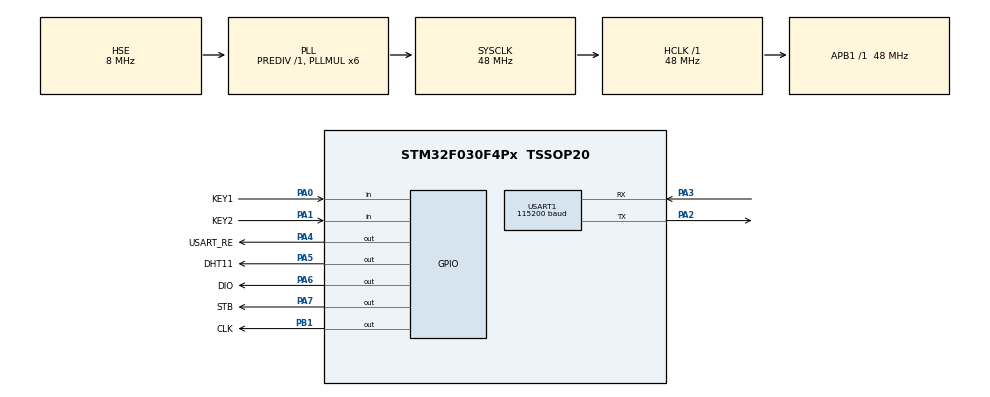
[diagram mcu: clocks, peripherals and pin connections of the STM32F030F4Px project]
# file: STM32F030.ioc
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Mcu.Family=STM32F0
Mcu.Name=STM32F030F4Px
Mcu.Package=TSSOP20
NVIC.TIM1_BRK_UP_TRG_COM_IRQn=true\:0\:0\:false\:false\:true\:true\:true
NVIC.USART1_IRQn=true\:1\:0\:true\:false\:true\:true\:true
PA0.GPIO_Label=KEY1
PA0.GPIO_PuPd=GPIO_PULLUP
PA0.Signal=GPIO_Input
PA1.GPIO_Label=KEY2
PA1.GPIO_PuPd=GPIO_PULLUP
PA1.Signal=GPIO_Input
PA13.Mode=Serial_Wire
PA13.Signal=SYS_SWDIO
PA14.Mode=Serial_Wire
PA14.Signal=SYS_SWCLK
PA2.Mode=Asynchronous
PA2.Signal=USART1_TX
PA3.Mode=Asynchronous
PA3.Signal=USART1_RX
PA4.GPIO_Label=USART_RE
PA4.GPIO_Speed=GPIO_SPEED_FREQ_HIGH
PA4.PinState=GPIO_PIN_RESET
PA4.Signal=GPIO_Output
PA5.GPIO_Label=DHT11
PA5.GPIO_ModeDefaultOutputPP=GPIO_MODE_OUTPUT_OD
PA5.PinState=GPIO_PIN_SET
PA5.Signal=GPIO_Output
PA6.GPIO_Label=DIO
PA6.Signal=GPIO_Output
PA7.GPIO_Label=STB
PA7.Signal=GPIO_Output
PB1.GPIO_Label=CLK
PB1.Signal=GPIO_Output
PF0-OSC_IN.Mode=HSE-External-Oscillator
PF0-OSC_IN.Signal=RCC_OSC_IN
PF1-OSC_OUT.Mode=HSE-External-Oscillator
PF1-OSC_OUT.Signal=RCC_OSC_OUT
ProjectManager.HeapSize=0x200
ProjectManager.StackSize=0x400
ProjectManager.TargetToolchain=MDK-ARM V5.27
RCC.AHBFreq_Value=48000000
RCC.APB1Freq_Value=48000000
RCC.APB1TimFreq_Value=48000000
RCC.HCLKFreq_Value=48000000
RCC.PLLMUL=RCC_PLL_MUL6
RCC.PLLSourceVirtual=RCC_PLLSOURCE_HSE
RCC.RTCClockSelection=RCC_RTCCLKSOURCE_HSE_DIV32
RCC.SYSCLKFreq_VALUE=48000000
RCC.SYSCLKSource=RCC_SYSCLKSOURCE_PLLCLK
RTC.AsynchPrediv=124
RTC.SynchPrediv=1999
TIM1.Period=999
TIM1.Prescaler=479
USART1.BaudRate=115200
USART1.VirtualMode-Asynchronous=VM_ASYNC
VP_RTC_VS_RTC_Activate.Mode=RTC_Enabled
VP_RTC_VS_RTC_Calendar.Mode=RTC_Calendar
VP_TIM1_VS_ClockSourceINT.Mode=Internal
board=custom

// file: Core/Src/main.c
/* USER CODE BEGIN Header */
/**
  ******************************************************************************
  * @file           : main.c
  * @brief          : Main program body
  ******************************************************************************
  * @attention
  *
  * <h2><center>&copy; Copyright (c) 2021 STMicroelectronics.
  * All rights reserved.</center></h2>
  *
  * This software component is licensed by ST under BSD 3-Clause license,
  * the "License"; You may not use this file except in compliance with the
  * License. You may obtain a copy of the License at:
  *                        opensource.org/licenses/BSD-3-Clause
  *
  ******************************************************************************
  */
/* USER CODE END Header */
#include "main.h"
#include "rtc.h"
#include "tim.h"
#include "usart.h"
#include "gpio.h"

/* USER CODE BEGIN Includes */
#include "wifi.h"
/* USER CODE END Includes */

/* USER CODE BEGIN PD */
#define DHT11_Sensor        //使用DHT11传感器
//#define SHT30_Sensor        //使用SHT30传感器
/* USER CODE END PD */

/* USER CODE BEGIN PV */
uint8_t uart_temp,RxLine=0,rs485_buffer[200];
DHT11_Data_TypeDef DHT11;
RTC_DateTypeDef GetData;  //获取日期结构体
RTC_TimeTypeDef GetTime;   //获取时间结构体

RTC_DateTypeDef GetData1;  //获取日期结构体
RTC_TimeTypeDef GetTime1;   //获取时间结构体

uint8_t WIFI_Connect_FLAG = 0;
uint8_t Rtc_Flag = 0;

uint32_t Sys_time = 0;     //时钟基准
uint32_t task1_time = 0;   //任务1 DHT11时钟
uint32_t task2_time = 0;   //任务2 网络授时时钟
uint32_t task3_time = 0;   //任务3 数码管显示时钟
uint32_t uart_time = 0;   //任务4

char buffer[6] ={'0','1','2','3','4','5'};

#define MAX_RECV_LEN 1024         //设定可以接收的最大字节
uint8_t msg_buff[MAX_RECV_LEN] = {0}; //接收缓存区
uint8_t * msg = msg_buff;    //定义一个指针指向接收缓存区
int flag = 0;        //接收完成标志
int len_u4=0;  //数据长度记录

uint16_t aa;
/* USER CODE END PV */

void SystemClock_Config(void);

int main(void)
{
  /* USER CODE BEGIN 1 */
	uint8_t key;
  /* USER CODE END 1 */

  /* MCU Configuration--------------------------------------------------------*/

  /* Reset of all peripherals, Initializes the Flash interface and the Systick. */
  HAL_Init();

  /* Configure the system clock */
  SystemClock_Config();

  /* Initialize all configured peripherals */
  MX_GPIO_Init();
  MX_USART1_UART_Init();
  MX_RTC_Init();
  MX_TIM1_Init();
  /* USER CODE BEGIN 2 */
  wifi_protocol_init();
  HAL_UART_Receive_IT(&huart1,&uart_temp,1);
  delay_init(48);
  TM1620_Init();
  HAL_GPIO_WritePin(GPIOA,GPIO_PIN_4,GPIO_PIN_SET); //RS485控制流
  HAL_TIM_Base_Start_IT(&htim1);
  /* USER CODE END 2 */

  /* Infinite loop */
  while (1)
  {

    /* USER CODE BEGIN 3 */
    wifi_uart_service();
    if(mcu_get_wifi_work_state()!=WIFI_CONN_CLOUD)
    {
        WIFI_Connect_FLAG = 0;
    }
    else
    {
        WIFI_Connect_FLAG = 1;
    }

/*--------------------------------------------------------------------------------------------------------------------------------------*/
//按键任务

    key = KEY_Scan(0);
    switch(key)
    {
        case KEY1_PRES:
             mcu_set_wifi_mode(0);
            break;
        case KEY2_PRES:
            Rtc_Flag++;
        if(Rtc_Flag >= 4)
			{
				Rtc_Flag = 0;
			}
			break;

			default: break;
    }

/*--------------------------------------------------------------------------------------------------------------------------------------*/
//Task1 温湿度采集任务
#ifdef DHT11_Sensor
      if((Sys_time-task1_time)>=100||task1_time==0)
      {
          DHT11_ReadData(&DHT11);

          if(WIFI_Connect_FLAG == 1)
          {
              mcu_dp_value_update(DPID_TEMP_CURRENT,(DHT11.temp_int*10+DHT11.temp_deci)); //温度数据上报;上传浮点型数据需将数据乘以10倍
              mcu_dp_value_update(DPID_HUMIDITY_VALUE,(DHT11.humi_int)); //湿度数据上报;
          }
          task1_time = Sys_time;
      }
#endif

#ifdef SHT30_Sensor

#endif

/*--------------------------------------------------------------------------------------------------------------------------------------*/
//Task2 RTC网络授时
  if(WIFI_Connect_FLAG ==1)
  {
      if((Sys_time-task2_time)>=3000||task2_time==0)
      {
          mcu_get_system_time();
          task2_time = Sys_time;
      }
  }

/*--------------------------------------------------------------------------------------------------------------------------------------*/
/*RTC_Flag = 0时，显示温湿度
  RTC_FLAG = 1时，显示时间
  RTC_FLAG = 2时，显示日期
  RCT_FLAG = 3时，显示温湿度 ，第三个小数点为点亮，设备为MODBUS传感器
*/
//Task3 数码管任务
  if((Sys_time-task3_time)>=100||task3_time==0)
  {
      HAL_RTC_GetTime(&hrtc, &GetTime1, RTC_FORMAT_BIN);
      HAL_RTC_GetDate(&hrtc, &GetData1, RTC_FORMAT_BIN);
      if(Rtc_Flag == 0||Rtc_Flag == 3)
      {
          sprintf(buffer,"%2d%1d%2d%1d",DHT11.temp_int,DHT11.temp_deci,DHT11.humi_int,DHT11.humi_deci);

      }
      if(Rtc_Flag == 1)
      {
          sprintf(buffer,"%2d%1d%1d%2d",GetTime.Hours,0,0,GetTime1.Minutes);
      }
      if(Rtc_Flag == 2)
      {
          sprintf(buffer,"%2d%1d%1d%2d",GetData1.Month,0,0,GetData1.Date);
      }
      TM1620_Print(buffer);
      task3_time = Sys_time;
  }
/*--------------------------------------------------------------------------------------------------------------------------------------*/
//rs485任务
  if(Rtc_Flag==3)
  {
        if (flag == 1)
        {
//			aa=CheckCRC(msg_buff,6)&0xff00;
//			if(msg_buff[0]==0x01&&msg_buff[1]==0x03)
//			{
//				HAL_GPIO_WritePin(USART_RE_GPIO_Port,USART_RE_Pin,GPIO_PIN_SET);
//				printf("%s",msg_buff);
//				HAL_GPIO_WritePin(USART_RE_GPIO_Port,USART_RE_Pin,GPIO_PIN_SET);
//			}
//            delay_ms(10); //加延时，保证接收到数据过长的时候，等待数据存入缓存区发送
////            HAL_UART_Transmit(&huart1,msg_buff, len_u4,100);     //将串口4接收到的数据通过串口3传出
//            memset(msg_buff, 0, sizeof(msg_buff));   //清空缓存区
//            // 指向接收缓存的头部
//            msg = msg_buff;
//            (&huart1)->pRxBuffPtr = msg;
//            flag = 0;
//            len_u4=0;//每次数据长度清0
        }
  }

//      /* Display date Format : yy/mm/dd */
//      SEGGER_RTT_printf(0,"%02d/%02d/%02d\r\n",2000 + GetData1.Year, GetData1.Month, GetData1.Date);
//      /* Display time Format : hh:mm:ss */
//      SEGGER_RTT_printf(0,"%02d:%02d:%02d\r\n",GetTime1.Hours, GetTime1.Minutes, GetTime1.Seconds);

/*--------------------------------------------------------------------------------------------------------------------------------------*/

  }
  /* USER CODE END 3 */
}

void SystemClock_Config(void)
{
  RCC_OscInitTypeDef RCC_OscInitStruct = {0};
  RCC_ClkInitTypeDef RCC_ClkInitStruct = {0};
  RCC_PeriphCLKInitTypeDef PeriphClkInit = {0};

  /** Initializes the RCC Oscillators according to the specified parameters
  * in the RCC_OscInitTypeDef structure.
  */
  RCC_OscInitStruct.OscillatorType = RCC_OSCILLATORTYPE_HSE;
  RCC_OscInitStruct.HSEState = RCC_HSE_ON;
  RCC_OscInitStruct.PLL.PLLState = RCC_PLL_ON;
  RCC_OscInitStruct.PLL.PLLSource = RCC_PLLSOURCE_HSE;
  RCC_OscInitStruct.PLL.PLLMUL = RCC_PLL_MUL6;
  RCC_OscInitStruct.PLL.PREDIV = RCC_PREDIV_DIV1;
  if (HAL_RCC_OscConfig(&RCC_OscInitStruct) != HAL_OK)
  {
    Error_Handler();
  }
  /** Initializes the CPU, AHB and APB buses clocks
  */
  RCC_ClkInitStruct.ClockType = RCC_CLOCKTYPE_HCLK|RCC_CLOCKTYPE_SYSCLK
                              |RCC_CLOCKTYPE_PCLK1;
  RCC_ClkInitStruct.SYSCLKSource = RCC_SYSCLKSOURCE_PLLCLK;
  RCC_ClkInitStruct.AHBCLKDivider = RCC_SYSCLK_DIV1;
  RCC_ClkInitStruct.APB1CLKDivider = RCC_HCLK_DIV1;

  if (HAL_RCC_ClockConfig(&RCC_ClkInitStruct, FLASH_LATENCY_1) != HAL_OK)
  {
    Error_Handler();
  }
  PeriphClkInit.PeriphClockSelection = RCC_PERIPHCLK_USART1|RCC_PERIPHCLK_RTC;
  PeriphClkInit.Usart1ClockSelection = RCC_USART1CLKSOURCE_PCLK1;
  PeriphClkInit.RTCClockSelection = RCC_RTCCLKSOURCE_HSE_DIV32;
  if (HAL_RCCEx_PeriphCLKConfig(&PeriphClkInit) != HAL_OK)
  {
    Error_Handler();
  }
}

/* USER CODE BEGIN 4 */
void HAL_UART_RxCpltCallback(UART_HandleTypeDef *huart){
    if(Rtc_Flag ==3)
    {
        if(huart->Instance == huart1.Instance)
            {
                uart_time = Sys_time;
				uint8_t ret = HAL_OK;
				msg++;
				len_u4++;//数据长度计数
				if( msg == msg_buff + MAX_RECV_LEN)
				{
					msg = msg_buff;
				}
				do
				{
					ret = HAL_UART_Receive_IT(&huart1,(uint8_t *)msg,1);
				} while(ret != HAL_OK);
				if(*(msg-1) == '\n')   //接收以\n为结尾字符，则表示接收完成
				{
					flag  = 1;
				}
		}
	}
    else
    {
    if (huart->Instance == huart1.Instance){
        uart_receive_input(uart_temp);
    }
    HAL_UART_Receive_IT(huart,&uart_temp,1);
    }
}

void HAL_TIM_PeriodElapsedCallback(TIM_HandleTypeDef *htim){
    if (htim->Instance == TIM1){

        /* Toggle LED */
        Sys_time++;
    }

}

/* USER CODE END 4 */

void Error_Handler(void)
{
  __disable_irq();
  while (1)
  {
  }
}

/************************ (C) COPYRIGHT STMicroelectronics *****END OF FILE****/
